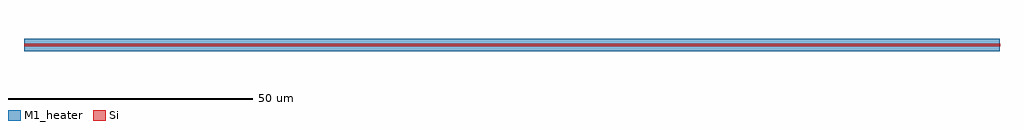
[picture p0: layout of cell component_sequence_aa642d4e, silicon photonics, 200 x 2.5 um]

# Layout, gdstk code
import gdstk
lib = gdstk.Library(unit=1e-6, precision=1e-09)
def R(c, l, rs):  # rectangles x0, y0, x1, y1
    for r in rs: c.add(gdstk.rectangle(r[:2], r[2:], *l))
Si = (1, 0)
M1_heater = (11, 0)

straight_add_pinsfalse_l = lib.new_cell('straight_add_pinsFalse_length0p1')
R(straight_add_pinsfalse_l, Si, [(0,-0.25,0.1,0.25)])

straight_4a1c811c = lib.new_cell('straight_4a1c811c')
R(straight_4a1c811c, Si, [(0,-0.25,27.9,0.25)])
R(straight_4a1c811c, M1_heater, [(0,-1.25,27.9,1.25)])

straight_4c389c95 = lib.new_cell('straight_4c389c95')
R(straight_4c389c95, Si, [(0,-0.25,30,0.25)])
R(straight_4c389c95, M1_heater, [(0,-1.25,30,1.25)])

straight_bc9a50f1 = lib.new_cell('straight_bc9a50f1')
R(straight_bc9a50f1, Si, [(0,-0.25,6,0.25)])
R(straight_bc9a50f1, M1_heater, [(0,-1.25,6,1.25)])

component_sequence_aa642 = lib.new_cell('component_sequence_aa642d4e')
component_sequence_aa642.add(gdstk.Reference(straight_add_pinsfalse_l, (0,0)))
component_sequence_aa642.add(gdstk.Reference(straight_4a1c811c, (0.1,0)))
component_sequence_aa642.add(gdstk.Reference(straight_4c389c95, (28,0)))
component_sequence_aa642.add(gdstk.Reference(straight_bc9a50f1, (58,0)))
component_sequence_aa642.add(gdstk.Reference(straight_4c389c95, (64,0)))
component_sequence_aa642.add(gdstk.Reference(straight_bc9a50f1, (94,0)))
component_sequence_aa642.add(gdstk.Reference(straight_4c389c95, (100,0)))
component_sequence_aa642.add(gdstk.Reference(straight_bc9a50f1, (130,0)))
component_sequence_aa642.add(gdstk.Reference(straight_4c389c95, (136,0)))
component_sequence_aa642.add(gdstk.Reference(straight_bc9a50f1, (166,0)))
component_sequence_aa642.add(gdstk.Reference(straight_4a1c811c, (172,0)))
component_sequence_aa642.add(gdstk.Reference(straight_add_pinsfalse_l, (199.9,0)))

lib.write_gds('component_sequence_aa642d4e.gds')
